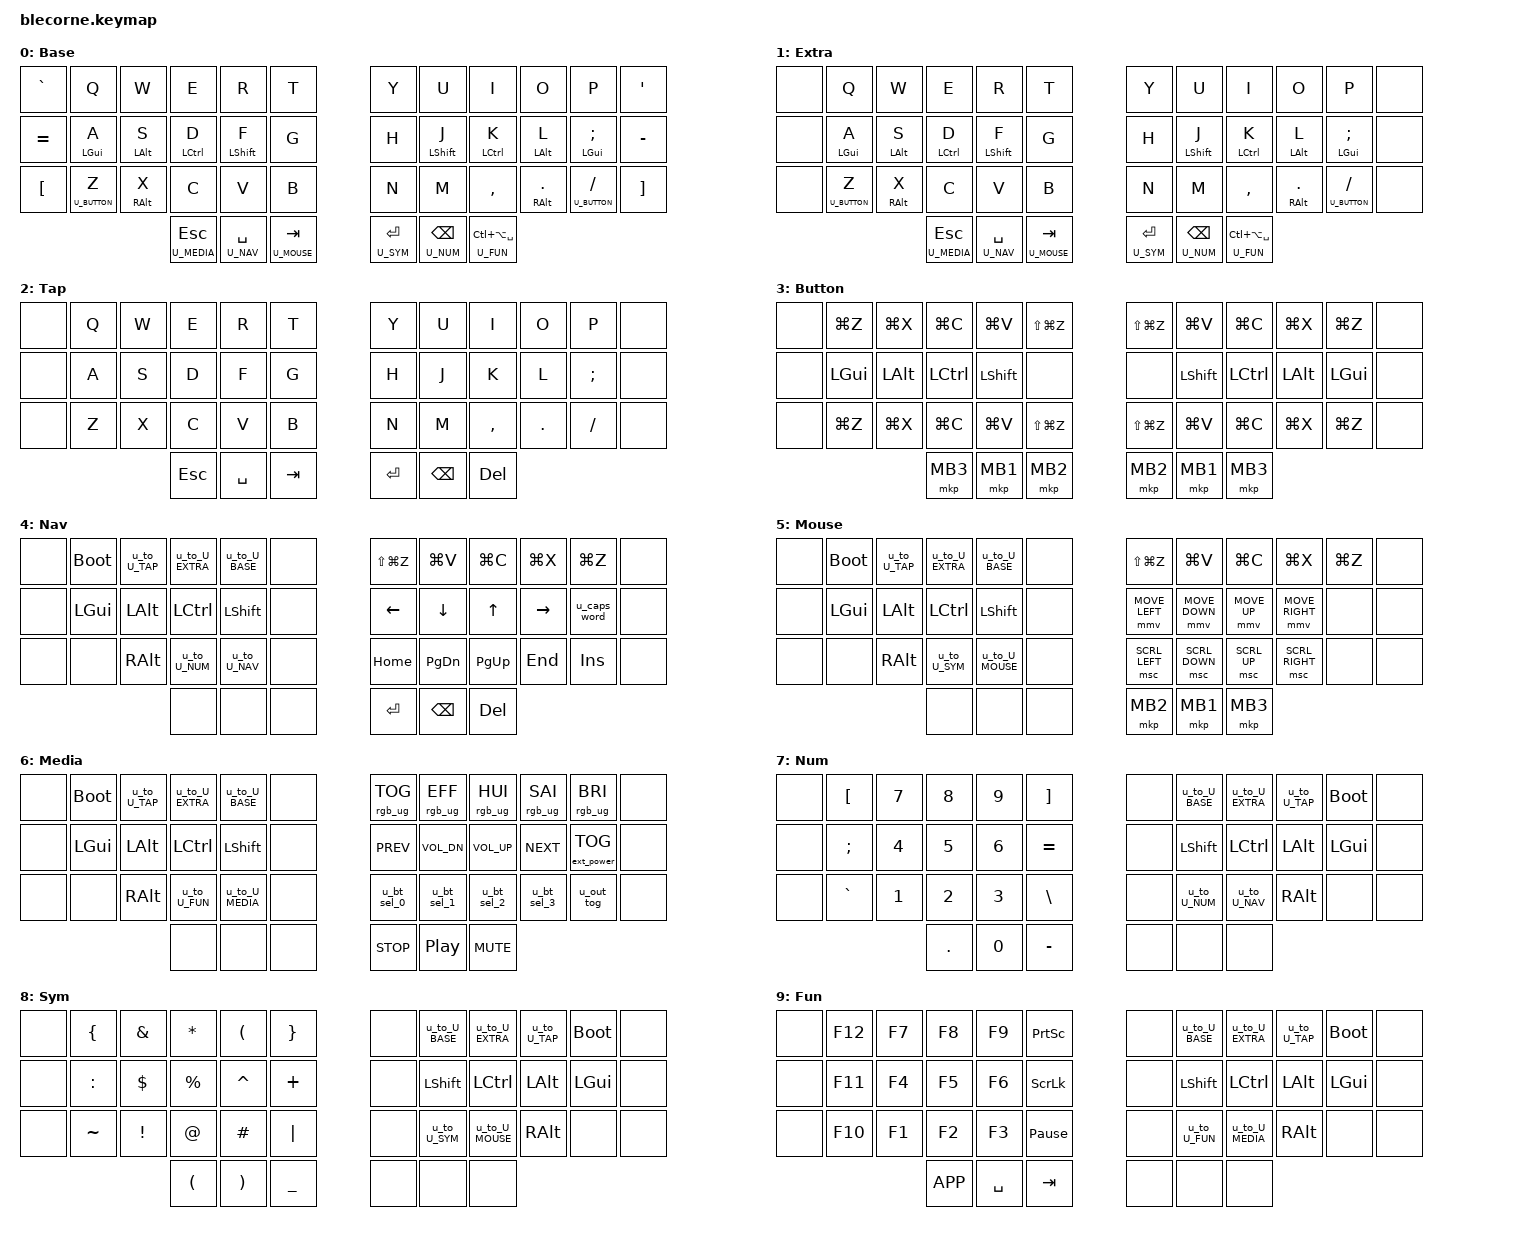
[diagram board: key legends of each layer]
// Miryoku ZMK keymap for BLE Corne (3x6+3 = 42 keys)
// Options: QWERTY alphas, Vim-style nav, MAC clipboard
// Extra pinky columns: GRAVE/EQUAL/LBKT (left), SQT/MINUS/RBKT (right)
//
// Based on: https://github.com/manna-harbour/miryoku_zmk
//
// Layer indices:
//   0 = BASE    4 = NAV     7 = NUM
//   1 = EXTRA   5 = MOUSE   8 = SYM
//   2 = TAP     6 = MEDIA   9 = FUN
//   3 = BUTTON

#include <behaviors.dtsi>
#include <behaviors/mouse_keys.dtsi>
#include <dt-bindings/zmk/keys.h>
#include <dt-bindings/zmk/bt.h>
#include <dt-bindings/zmk/rgb.h>
#include <dt-bindings/zmk/outputs.h>
#include <dt-bindings/zmk/ext_power.h>
#include <dt-bindings/zmk/pointing.h>

// --- Layer indices ---
#define U_BASE   0
#define U_EXTRA  1
#define U_TAP    2
#define U_BUTTON 3
#define U_NAV    4
#define U_MOUSE  5
#define U_MEDIA  6
#define U_NUM    7
#define U_SYM    8
#define U_FUN    9

// --- Timing ---
#define U_TAPPING_TERM 200

// --- Mouse settings ---
#define ZMK_POINTING_DEFAULT_MOVE_VAL 1250
#define ZMK_POINTING_DEFAULT_SCRL_VAL 100

// --- Mac clipboard ---
#define U_RDO &kp LS(LG(Z))
#define U_PST &kp LG(V)
#define U_CPY &kp LG(C)
#define U_CUT &kp LG(X)
#define U_UND &kp LG(Z)

// --- Helpers ---
#define U_NP &none
#define U_NA &none
#define U_NU &none

// --- Mouse bindings ---
#define U_BTN1 &mkp MB1
#define U_BTN2 &mkp MB2
#define U_BTN3 &mkp MB3
#define U_MS_D &mmv MOVE_DOWN
#define U_MS_L &mmv MOVE_LEFT
#define U_MS_R &mmv MOVE_RIGHT
#define U_MS_U &mmv MOVE_UP
#define U_WH_D &msc SCRL_DOWN
#define U_WH_L &msc SCRL_LEFT
#define U_WH_R &msc SCRL_RIGHT
#define U_WH_U &msc SCRL_UP

// --- RGB / EP ---
#define U_RGB_TOG &rgb_ug RGB_TOG
#define U_RGB_EFF &rgb_ug RGB_EFF
#define U_RGB_HUI &rgb_ug RGB_HUI
#define U_RGB_SAI &rgb_ug RGB_SAI
#define U_RGB_BRI &rgb_ug RGB_BRI
#define U_EP_TOG  &ext_power EP_TOG

// ============================================================
// Shift-function mod-morph macro: tap = BINDING, shift+tap = SHIFT_BINDING
// ============================================================

#define MIRYOKU_SHIFT_FUNCTION(NAME, BINDING, SHIFT_BINDING) \
/ { \
  behaviors { \
    NAME: NAME { \
      compatible = "zmk,behavior-mod-morph"; \
      #binding-cells = <0>; \
      bindings = <BINDING>, <SHIFT_BINDING>; \
      mods = <(MOD_LSFT|MOD_RSFT)>; \
    }; \
  }; \
};

#define U_MACRO(name,...) \
/ { \
  macros { \
    name: name { \
      compatible = "zmk,behavior-macro"; \
      #binding-cells = <0>; \
      __VA_ARGS__ \
    }; \
  }; \
};

#define MIRYOKU_SHIFT_MACRO(NAME, BINDING, SHIFT_BINDING) \
U_MACRO(u_macro_ ## NAME, wait-ms = <0>; bindings = <SHIFT_BINDING>;) \
MIRYOKU_SHIFT_FUNCTION(NAME, BINDING, &u_macro_ ## NAME)

// --- BT select (tap = select, shift+tap = select & clear) ---
MIRYOKU_SHIFT_MACRO(u_bt_sel_0, &bt BT_SEL 0, &bt BT_SEL 0 &bt BT_CLR)
MIRYOKU_SHIFT_MACRO(u_bt_sel_1, &bt BT_SEL 1, &bt BT_SEL 1 &bt BT_CLR)
MIRYOKU_SHIFT_MACRO(u_bt_sel_2, &bt BT_SEL 2, &bt BT_SEL 2 &bt BT_CLR)
MIRYOKU_SHIFT_MACRO(u_bt_sel_3, &bt BT_SEL 3, &bt BT_SEL 3 &bt BT_CLR)

// --- Output toggle (tap = toggle, shift+tap = force USB) ---
MIRYOKU_SHIFT_FUNCTION(u_out_tog, &out OUT_TOG, &out OUT_USB)

// --- Caps word (tap = caps_word, shift+tap = caps lock) ---
MIRYOKU_SHIFT_FUNCTION(u_caps_word, &caps_word, &kp CAPS)

// ============================================================
// Double-tap guard: requires double-tap to activate (prevents accidental triggers)
// ============================================================

#define MIRYOKU_DOUBLE_TAP_GUARD(NAME, BINDING) \
/ { \
  behaviors { \
    NAME: NAME { \
      compatible = "zmk,behavior-tap-dance"; \
      #binding-cells = <0>; \
      tapping-term-ms = <U_TAPPING_TERM>; \
      bindings = <&none>, <BINDING>; \
    }; \
  }; \
};

MIRYOKU_DOUBLE_TAP_GUARD(u_to_U_BASE,   &to U_BASE)
MIRYOKU_DOUBLE_TAP_GUARD(u_to_U_EXTRA,  &to U_EXTRA)
MIRYOKU_DOUBLE_TAP_GUARD(u_to_U_TAP,    &to U_TAP)
MIRYOKU_DOUBLE_TAP_GUARD(u_to_U_BUTTON, &to U_BUTTON)
MIRYOKU_DOUBLE_TAP_GUARD(u_to_U_NAV,    &to U_NAV)
MIRYOKU_DOUBLE_TAP_GUARD(u_to_U_MOUSE,  &to U_MOUSE)
MIRYOKU_DOUBLE_TAP_GUARD(u_to_U_MEDIA,  &to U_MEDIA)
MIRYOKU_DOUBLE_TAP_GUARD(u_to_U_NUM,    &to U_NUM)
MIRYOKU_DOUBLE_TAP_GUARD(u_to_U_SYM,    &to U_SYM)
MIRYOKU_DOUBLE_TAP_GUARD(u_to_U_FUN,    &to U_FUN)

// ============================================================
// Hold-tap behaviors (home row mods and layer taps)
// ============================================================

/ {
  behaviors {
    u_mt: u_mt {
      compatible = "zmk,behavior-hold-tap";
      #binding-cells = <2>;
      tapping-term-ms = <U_TAPPING_TERM>;
      flavor = "tap-preferred";
      bindings = <&kp>, <&kp>;
    };
    u_lt: u_lt {
      compatible = "zmk,behavior-hold-tap";
      #binding-cells = <2>;
      tapping-term-ms = <U_TAPPING_TERM>;
      flavor = "tap-preferred";
      bindings = <&mo>, <&kp>;
    };
  };
};

// ============================================================
// Mouse movement tuning
// ============================================================

&mmv {
  acceleration-exponent = <1>;
  time-to-max-speed-ms = <1500>;
  delay-ms = <0>;
};

// ============================================================
// Keymap
// ============================================================
//
// Physical layout (Corne 3x6+3):
//
// | C0  | C1  | C2  | C3  | C4  | C5  |     | C6  | C7  | C8  | C9  | C10 | C11 |
// | C12 | C13 | C14 | C15 | C16 | C17 |     | C18 | C19 | C20 | C21 | C22 | C23 |
// | C24 | C25 | C26 | C27 | C28 | C29 |     | C30 | C31 | C32 | C33 | C34 | C35 |
//                   | C36 | C37 | C38 |     | C39 | C40 | C41 |
//
// Miryoku 5x3+3 core maps into columns C1-C5 / C6-C10 (alphas)
// with C0/C11/C12/C23/C24/C35 as the extra pinky columns.
// Thumb cluster: C36-C38 (left), C39-C41 (right).
//
// Standard Miryoku thumb assignments (non-flip):
//   Left:  ESC/MEDIA  SPACE/NAV  TAB/MOUSE
//   Right: RET/SYM    BSPC/NUM   DEL/FUN

/ {
  keymap {
    compatible = "zmk,keymap";

    // ===== Layer 0: BASE (QWERTY) =====
    //
    // ,------------------------------------------.  ,------------------------------------------.
    // | GRAVE|  Q   |  W   |  E   |  R   |  T   |  |  Y   |  U   |  I   |  O   |  P   | SQT  |
    // | EQUAL| A/GUI| S/ALT| D/CTL| F/SFT|  G   |  |  H   | J/SFT| K/CTL| L/ALT|;/GUI | MINUS|
    // | LBKT | Z/BTN| X/ALT|  C   |  V   |  B   |  |  N   |  M   |  ,   | ./ALT|//BTN | RBKT |
    // `-------------| ESC  | SPACE| TAB  |-------.  .------| RET  | BSPC |C-O-SP|-------------'
    //               |MEDIA | NAV  | MOUSE|              SYM|  NUM |  FUN |
    //               `---------------------'              `---------------------'

    BASE {
      display-name = "Base";
      bindings = <
&kp GRAVE          &kp Q              &kp W              &kp E              &kp R              &kp T                &kp Y              &kp U              &kp I              &kp O              &kp P              &kp SQT
&kp EQUAL          &u_mt LGUI A       &u_mt LALT S       &u_mt LCTRL D      &u_mt LSHFT F      &kp G                &kp H              &u_mt LSHFT J      &u_mt LCTRL K      &u_mt LALT L       &u_mt LGUI SEMI    &kp MINUS
&kp LBKT           &u_lt U_BUTTON Z   &u_mt RALT X       &kp C              &kp V              &kp B                &kp N              &kp M              &kp COMMA          &u_mt RALT DOT     &u_lt U_BUTTON SLASH &kp RBKT
                                       &u_lt U_MEDIA ESC  &u_lt U_NAV SPACE  &u_lt U_MOUSE TAB  &u_lt U_SYM RET    &u_lt U_NUM BSPC   &u_lt U_FUN LC(LA(SPACE))
      >;
    };

    // ===== Layer 1: EXTRA (QWERTY duplicate - default extra is QWERTY) =====

    EXTRA {
      display-name = "Extra";
      bindings = <
&none              &kp Q              &kp W              &kp E              &kp R              &kp T                &kp Y              &kp U              &kp I              &kp O              &kp P              &none
&none              &u_mt LGUI A       &u_mt LALT S       &u_mt LCTRL D      &u_mt LSHFT F      &kp G                &kp H              &u_mt LSHFT J      &u_mt LCTRL K      &u_mt LALT L       &u_mt LGUI SEMI    &none
&none              &u_lt U_BUTTON Z   &u_mt RALT X       &kp C              &kp V              &kp B                &kp N              &kp M              &kp COMMA          &u_mt RALT DOT     &u_lt U_BUTTON SLASH &none
                                       &u_lt U_MEDIA ESC  &u_lt U_NAV SPACE  &u_lt U_MOUSE TAB  &u_lt U_SYM RET    &u_lt U_NUM BSPC   &u_lt U_FUN LC(LA(SPACE))
      >;
    };

    // ===== Layer 2: TAP (QWERTY without home row mods) =====

    TAP {
      display-name = "Tap";
      bindings = <
&none              &kp Q              &kp W              &kp E              &kp R              &kp T                &kp Y              &kp U              &kp I              &kp O              &kp P              &none
&none              &kp A              &kp S              &kp D              &kp F              &kp G                &kp H              &kp J              &kp K              &kp L              &kp SEMI           &none
&none              &kp Z              &kp X              &kp C              &kp V              &kp B                &kp N              &kp M              &kp COMMA          &kp DOT            &kp SLASH          &none
                                       &kp ESC            &kp SPACE          &kp TAB            &kp RET            &kp BSPC           &kp DEL
      >;
    };

    // ===== Layer 3: BUTTON (clipboard & mouse buttons, symmetric) =====

    BUTTON {
      display-name = "Button";
      bindings = <
&none              &kp LG(Z)          &kp LG(X)          &kp LG(C)          &kp LG(V)          &kp LS(LG(Z))        &kp LS(LG(Z))      &kp LG(V)          &kp LG(C)          &kp LG(X)          &kp LG(Z)          &none
&none              &kp LGUI           &kp LALT           &kp LCTRL          &kp LSHFT          &none                &none              &kp LSHFT          &kp LCTRL          &kp LALT           &kp LGUI           &none
&none              &kp LG(Z)          &kp LG(X)          &kp LG(C)          &kp LG(V)          &kp LS(LG(Z))        &kp LS(LG(Z))      &kp LG(V)          &kp LG(C)          &kp LG(X)          &kp LG(Z)          &none
                                       &mkp MB3           &mkp MB1           &mkp MB2           &mkp MB2           &mkp MB1           &mkp MB3
      >;
    };

    // ===== Layer 4: NAV (Vim-style - hjkl = ← ↓ ↑ →) =====
    //
    // ,------------------------------------------.  ,------------------------------------------.
    // |      | BOOT | TAP  | EXTRA| BASE |      |  | REDO | PASTE| COPY | CUT  | UNDO |      |
    // |      | GUI  | ALT  | CTRL | SHIFT|      |  |  ←   |  ↓   |  ↑   |  →   | CAPS |      |
    // |      |      | RALT | NUM  | NAV  |      |  | HOME | PGDN | PGUP | END  | INS  |      |
    // `-------------|      |      |      |-------.  .------| RET  | BSPC | DEL  |-------------'

    NAV {
      display-name = "Nav";
      bindings = <
&none              &bootloader        &u_to_U_TAP        &u_to_U_EXTRA      &u_to_U_BASE       &none                &kp LS(LG(Z))      &kp LG(V)          &kp LG(C)          &kp LG(X)          &kp LG(Z)          &none
&none              &kp LGUI           &kp LALT           &kp LCTRL          &kp LSHFT          &none                &kp LEFT           &kp DOWN           &kp UP             &kp RIGHT          &u_caps_word       &none
&none              &none              &kp RALT           &u_to_U_NUM        &u_to_U_NAV        &none                &kp HOME           &kp PG_DN          &kp PG_UP          &kp END            &kp INS            &none
                                       &none              &none              &none              &kp RET            &kp BSPC           &kp DEL
      >;
    };

    // ===== Layer 5: MOUSE (Vim-style - hjkl = ← ↓ ↑ →) =====
    //
    // ,------------------------------------------.  ,------------------------------------------.
    // |      | BOOT | TAP  | EXTRA| BASE |      |  | REDO | PASTE| COPY | CUT  | UNDO |      |
    // |      | GUI  | ALT  | CTRL | SHIFT|      |  | MS←  | MS↓  | MS↑  | MS→  |      |      |
    // |      |      | RALT | SYM  | MOUSE|      |  | SC←  | SC↓  | SC↑  | SC→  |      |      |
    // `-------------|      |      |      |-------.  .------| BTN2 | BTN1 | BTN3 |-------------'

    MOUSE {
      display-name = "Mouse";
      bindings = <
&none              &bootloader        &u_to_U_TAP        &u_to_U_EXTRA      &u_to_U_BASE       &none                &kp LS(LG(Z))      &kp LG(V)          &kp LG(C)          &kp LG(X)          &kp LG(Z)          &none
&none              &kp LGUI           &kp LALT           &kp LCTRL          &kp LSHFT          &none                &mmv MOVE_LEFT     &mmv MOVE_DOWN     &mmv MOVE_UP       &mmv MOVE_RIGHT    &none              &none
&none              &none              &kp RALT           &u_to_U_SYM        &u_to_U_MOUSE      &none                &msc SCRL_LEFT     &msc SCRL_DOWN     &msc SCRL_UP       &msc SCRL_RIGHT    &none              &none
                                       &none              &none              &none              &mkp MB2           &mkp MB1           &mkp MB3
      >;
    };

    // ===== Layer 6: MEDIA (Vim-style - hjkl positions) =====
    //
    // ,------------------------------------------.  ,------------------------------------------.
    // |      | BOOT | TAP  | EXTRA| BASE |      |  | RGB  | EFF  | HUE  | SAT  | BRI  |      |
    // |      | GUI  | ALT  | CTRL | SHIFT|      |  | PREV |VOL - |VOL + | NEXT |EP_TOG|      |
    // |      |      | RALT | FUN  | MEDIA|      |  | BT0  | BT1  | BT2  | BT3  |OUTTOG|      |
    // `-------------|      |      |      |-------.  .------| STOP |  PP  | MUTE |-------------'

    MEDIA {
      display-name = "Media";
      bindings = <
&none              &bootloader        &u_to_U_TAP        &u_to_U_EXTRA      &u_to_U_BASE       &none                &rgb_ug RGB_TOG    &rgb_ug RGB_EFF    &rgb_ug RGB_HUI    &rgb_ug RGB_SAI    &rgb_ug RGB_BRI    &none
&none              &kp LGUI           &kp LALT           &kp LCTRL          &kp LSHFT          &none                &kp C_PREV         &kp C_VOL_DN       &kp C_VOL_UP       &kp C_NEXT         &ext_power EP_TOG  &none
&none              &none              &kp RALT           &u_to_U_FUN        &u_to_U_MEDIA      &none                &u_bt_sel_0        &u_bt_sel_1        &u_bt_sel_2        &u_bt_sel_3        &u_out_tog         &none
                                       &none              &none              &none              &kp C_STOP         &kp C_PP           &kp C_MUTE
      >;
    };

    // ===== Layer 7: NUM (number pad on left hand) =====
    //
    // ,------------------------------------------.  ,------------------------------------------.
    // |      |  [   |  7   |  8   |  9   |  ]   |  |      | BASE | EXTRA| TAP  | BOOT |      |
    // |      |  ;   |  4   |  5   |  6   |  =   |  |      | SHIFT| CTRL | ALT  | GUI  |      |
    // |      |  `   |  1   |  2   |  3   |  \   |  |      | NUM  | NAV  | RALT |      |      |
    // `-------------|  .   |  0   |  -   |-------.  .------|      |      |      |-------------'

    NUM {
      display-name = "Num";
      bindings = <
&none              &kp LBKT           &kp N7             &kp N8             &kp N9             &kp RBKT             &none              &u_to_U_BASE       &u_to_U_EXTRA      &u_to_U_TAP        &bootloader        &none
&none              &kp SEMI           &kp N4             &kp N5             &kp N6             &kp EQUAL            &none              &kp LSHFT          &kp LCTRL          &kp LALT           &kp LGUI           &none
&none              &kp GRAVE          &kp N1             &kp N2             &kp N3             &kp BSLH             &none              &u_to_U_NUM        &u_to_U_NAV        &kp RALT           &none              &none
                                       &kp DOT            &kp N0             &kp MINUS          &none              &none              &none
      >;
    };

    // ===== Layer 8: SYM (symbols on left hand) =====
    //
    // ,------------------------------------------.  ,------------------------------------------.
    // |      |  {   |  &   |  *   |  (   |  }   |  |      | BASE | EXTRA| TAP  | BOOT |      |
    // |      |  :   |  $   |  %   |  ^   |  +   |  |      | SHIFT| CTRL | ALT  | GUI  |      |
    // |      |  ~   |  !   |  @   |  #   |  |   |  |      | SYM  | MOUSE| RALT |      |      |
    // `-------------|  (   |  )   |  _   |-------.  .------|      |      |      |-------------'

    SYM {
      display-name = "Sym";
      bindings = <
&none              &kp LBRC           &kp AMPS           &kp ASTRK          &kp LPAR           &kp RBRC             &none              &u_to_U_BASE       &u_to_U_EXTRA      &u_to_U_TAP        &bootloader        &none
&none              &kp COLON          &kp DLLR           &kp PRCNT          &kp CARET          &kp PLUS             &none              &kp LSHFT          &kp LCTRL          &kp LALT           &kp LGUI           &none
&none              &kp TILDE          &kp EXCL           &kp AT             &kp HASH           &kp PIPE             &none              &u_to_U_SYM        &u_to_U_MOUSE      &kp RALT           &none              &none
                                       &kp LPAR           &kp RPAR           &kp UNDER          &none              &none              &none
      >;
    };

    // ===== Layer 9: FUN (function keys on left hand) =====
    //
    // ,------------------------------------------.  ,------------------------------------------.
    // |      | F12  |  F7  |  F8  |  F9  | PSCRN|  |      | BASE | EXTRA| TAP  | BOOT |      |
    // |      | F11  |  F4  |  F5  |  F6  | SLCK |  |      | SHIFT| CTRL | ALT  | GUI  |      |
    // |      | F10  |  F1  |  F2  |  F3  | PAUSE|  |      | FUN  | MEDIA| RALT |      |      |
    // `-------------|K_APP | SPACE| TAB  |-------.  .------|      |      |      |-------------'

    FUN {
      display-name = "Fun";
      bindings = <
&none              &kp F12            &kp F7             &kp F8             &kp F9             &kp PSCRN            &none              &u_to_U_BASE       &u_to_U_EXTRA      &u_to_U_TAP        &bootloader        &none
&none              &kp F11            &kp F4             &kp F5             &kp F6             &kp SLCK             &none              &kp LSHFT          &kp LCTRL          &kp LALT           &kp LGUI           &none
&none              &kp F10            &kp F1             &kp F2             &kp F3             &kp PAUSE_BREAK      &none              &u_to_U_FUN        &u_to_U_MEDIA      &kp RALT           &none              &none
                                       &kp K_APP          &kp SPACE          &kp TAB            &none              &none              &none
      >;
    };
  };
};
